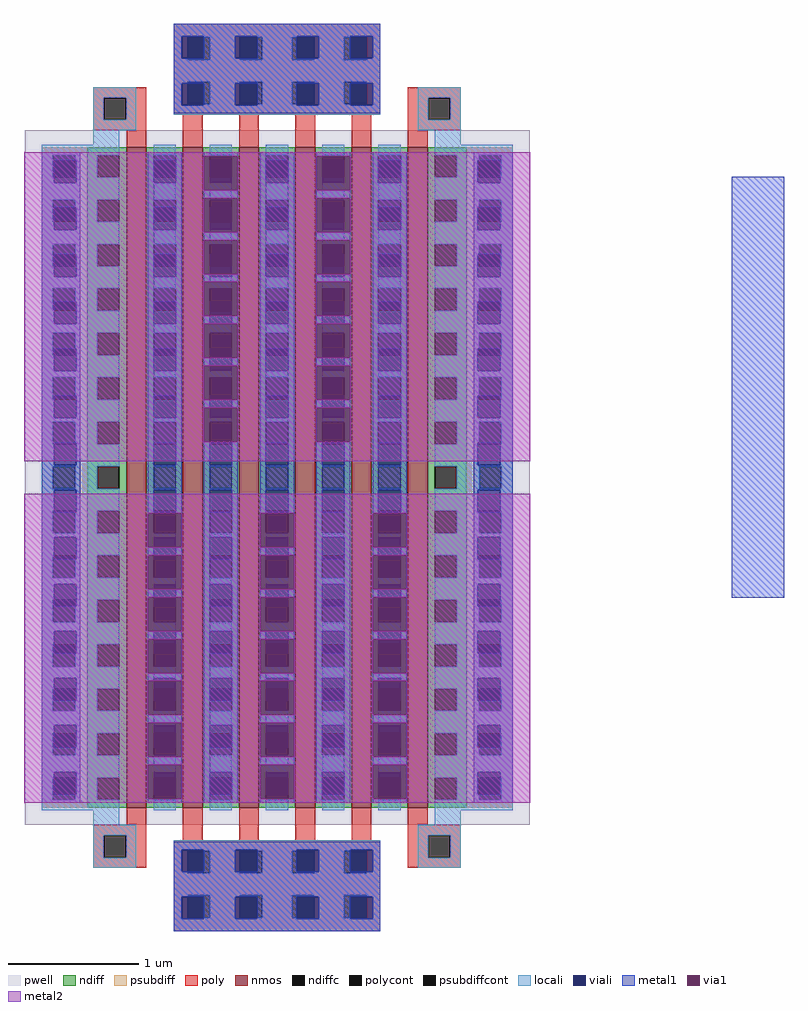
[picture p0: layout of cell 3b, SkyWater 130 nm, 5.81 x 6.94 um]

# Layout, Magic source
magic
tech sky130B
magscale 1 2
<< metal1 >>
rect 1096 510 1176 1154
use 2  2_0
transform 1 0 0 0 1 0
box 14 0 788 1388
<< end >>

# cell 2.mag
magic
tech sky130B
magscale 1 2
<< pwell >>
rect 15 163 787 1225
<< nmos >>
rect 171 189 201 1199
rect 257 189 287 1199
rect 343 189 373 1199
rect 429 189 459 1199
rect 515 189 545 1199
rect 601 189 631 1199
<< ndiff >>
rect 111 1187 171 1199
rect 111 1153 126 1187
rect 160 1153 171 1187
rect 111 1119 171 1153
rect 111 1085 126 1119
rect 160 1085 171 1119
rect 111 1051 171 1085
rect 111 1017 126 1051
rect 160 1017 171 1051
rect 111 983 171 1017
rect 111 949 126 983
rect 160 949 171 983
rect 111 915 171 949
rect 111 881 126 915
rect 160 881 171 915
rect 111 847 171 881
rect 111 813 126 847
rect 160 813 171 847
rect 111 779 171 813
rect 111 745 126 779
rect 160 745 171 779
rect 111 711 171 745
rect 111 677 126 711
rect 160 677 171 711
rect 111 643 171 677
rect 111 609 126 643
rect 160 609 171 643
rect 111 575 171 609
rect 111 541 126 575
rect 160 541 171 575
rect 111 507 171 541
rect 111 473 126 507
rect 160 473 171 507
rect 111 439 171 473
rect 111 405 126 439
rect 160 405 171 439
rect 111 371 171 405
rect 111 337 126 371
rect 160 337 171 371
rect 111 303 171 337
rect 111 269 126 303
rect 160 269 171 303
rect 111 235 171 269
rect 111 201 126 235
rect 160 201 171 235
rect 111 189 171 201
rect 201 1187 257 1199
rect 201 1153 212 1187
rect 246 1153 257 1187
rect 201 1119 257 1153
rect 201 1085 212 1119
rect 246 1085 257 1119
rect 201 1051 257 1085
rect 201 1017 212 1051
rect 246 1017 257 1051
rect 201 983 257 1017
rect 201 949 212 983
rect 246 949 257 983
rect 201 915 257 949
rect 201 881 212 915
rect 246 881 257 915
rect 201 847 257 881
rect 201 813 212 847
rect 246 813 257 847
rect 201 779 257 813
rect 201 745 212 779
rect 246 745 257 779
rect 201 711 257 745
rect 201 677 212 711
rect 246 677 257 711
rect 201 643 257 677
rect 201 609 212 643
rect 246 609 257 643
rect 201 575 257 609
rect 201 541 212 575
rect 246 541 257 575
rect 201 507 257 541
rect 201 473 212 507
rect 246 473 257 507
rect 201 439 257 473
rect 201 405 212 439
rect 246 405 257 439
rect 201 371 257 405
rect 201 337 212 371
rect 246 337 257 371
rect 201 303 257 337
rect 201 269 212 303
rect 246 269 257 303
rect 201 235 257 269
rect 201 201 212 235
rect 246 201 257 235
rect 201 189 257 201
rect 287 1187 343 1199
rect 287 1153 298 1187
rect 332 1153 343 1187
rect 287 1119 343 1153
rect 287 1085 298 1119
rect 332 1085 343 1119
rect 287 1051 343 1085
rect 287 1017 298 1051
rect 332 1017 343 1051
rect 287 983 343 1017
rect 287 949 298 983
rect 332 949 343 983
rect 287 915 343 949
rect 287 881 298 915
rect 332 881 343 915
rect 287 847 343 881
rect 287 813 298 847
rect 332 813 343 847
rect 287 779 343 813
rect 287 745 298 779
rect 332 745 343 779
rect 287 711 343 745
rect 287 677 298 711
rect 332 677 343 711
rect 287 643 343 677
rect 287 609 298 643
rect 332 609 343 643
rect 287 575 343 609
rect 287 541 298 575
rect 332 541 343 575
rect 287 507 343 541
rect 287 473 298 507
rect 332 473 343 507
rect 287 439 343 473
rect 287 405 298 439
rect 332 405 343 439
rect 287 371 343 405
rect 287 337 298 371
rect 332 337 343 371
rect 287 303 343 337
rect 287 269 298 303
rect 332 269 343 303
rect 287 235 343 269
rect 287 201 298 235
rect 332 201 343 235
rect 287 189 343 201
rect 373 1187 429 1199
rect 373 1153 384 1187
rect 418 1153 429 1187
rect 373 1119 429 1153
rect 373 1085 384 1119
rect 418 1085 429 1119
rect 373 1051 429 1085
rect 373 1017 384 1051
rect 418 1017 429 1051
rect 373 983 429 1017
rect 373 949 384 983
rect 418 949 429 983
rect 373 915 429 949
rect 373 881 384 915
rect 418 881 429 915
rect 373 847 429 881
rect 373 813 384 847
rect 418 813 429 847
rect 373 779 429 813
rect 373 745 384 779
rect 418 745 429 779
rect 373 711 429 745
rect 373 677 384 711
rect 418 677 429 711
rect 373 643 429 677
rect 373 609 384 643
rect 418 609 429 643
rect 373 575 429 609
rect 373 541 384 575
rect 418 541 429 575
rect 373 507 429 541
rect 373 473 384 507
rect 418 473 429 507
rect 373 439 429 473
rect 373 405 384 439
rect 418 405 429 439
rect 373 371 429 405
rect 373 337 384 371
rect 418 337 429 371
rect 373 303 429 337
rect 373 269 384 303
rect 418 269 429 303
rect 373 235 429 269
rect 373 201 384 235
rect 418 201 429 235
rect 373 189 429 201
rect 459 1187 515 1199
rect 459 1153 470 1187
rect 504 1153 515 1187
rect 459 1119 515 1153
rect 459 1085 470 1119
rect 504 1085 515 1119
rect 459 1051 515 1085
rect 459 1017 470 1051
rect 504 1017 515 1051
rect 459 983 515 1017
rect 459 949 470 983
rect 504 949 515 983
rect 459 915 515 949
rect 459 881 470 915
rect 504 881 515 915
rect 459 847 515 881
rect 459 813 470 847
rect 504 813 515 847
rect 459 779 515 813
rect 459 745 470 779
rect 504 745 515 779
rect 459 711 515 745
rect 459 677 470 711
rect 504 677 515 711
rect 459 643 515 677
rect 459 609 470 643
rect 504 609 515 643
rect 459 575 515 609
rect 459 541 470 575
rect 504 541 515 575
rect 459 507 515 541
rect 459 473 470 507
rect 504 473 515 507
rect 459 439 515 473
rect 459 405 470 439
rect 504 405 515 439
rect 459 371 515 405
rect 459 337 470 371
rect 504 337 515 371
rect 459 303 515 337
rect 459 269 470 303
rect 504 269 515 303
rect 459 235 515 269
rect 459 201 470 235
rect 504 201 515 235
rect 459 189 515 201
rect 545 1187 601 1199
rect 545 1153 556 1187
rect 590 1153 601 1187
rect 545 1119 601 1153
rect 545 1085 556 1119
rect 590 1085 601 1119
rect 545 1051 601 1085
rect 545 1017 556 1051
rect 590 1017 601 1051
rect 545 983 601 1017
rect 545 949 556 983
rect 590 949 601 983
rect 545 915 601 949
rect 545 881 556 915
rect 590 881 601 915
rect 545 847 601 881
rect 545 813 556 847
rect 590 813 601 847
rect 545 779 601 813
rect 545 745 556 779
rect 590 745 601 779
rect 545 711 601 745
rect 545 677 556 711
rect 590 677 601 711
rect 545 643 601 677
rect 545 609 556 643
rect 590 609 601 643
rect 545 575 601 609
rect 545 541 556 575
rect 590 541 601 575
rect 545 507 601 541
rect 545 473 556 507
rect 590 473 601 507
rect 545 439 601 473
rect 545 405 556 439
rect 590 405 601 439
rect 545 371 601 405
rect 545 337 556 371
rect 590 337 601 371
rect 545 303 601 337
rect 545 269 556 303
rect 590 269 601 303
rect 545 235 601 269
rect 545 201 556 235
rect 590 201 601 235
rect 545 189 601 201
rect 631 1187 691 1199
rect 631 1153 642 1187
rect 676 1153 691 1187
rect 631 1119 691 1153
rect 631 1085 642 1119
rect 676 1085 691 1119
rect 631 1051 691 1085
rect 631 1017 642 1051
rect 676 1017 691 1051
rect 631 983 691 1017
rect 631 949 642 983
rect 676 949 691 983
rect 631 915 691 949
rect 631 881 642 915
rect 676 881 691 915
rect 631 847 691 881
rect 631 813 642 847
rect 676 813 691 847
rect 631 779 691 813
rect 631 745 642 779
rect 676 745 691 779
rect 631 711 691 745
rect 631 677 642 711
rect 676 677 691 711
rect 631 643 691 677
rect 631 609 642 643
rect 676 609 691 643
rect 631 575 691 609
rect 631 541 642 575
rect 676 541 691 575
rect 631 507 691 541
rect 631 473 642 507
rect 676 473 691 507
rect 631 439 691 473
rect 631 405 642 439
rect 676 405 691 439
rect 631 371 691 405
rect 631 337 642 371
rect 676 337 691 371
rect 631 303 691 337
rect 631 269 642 303
rect 676 269 691 303
rect 631 235 691 269
rect 631 201 642 235
rect 676 201 691 235
rect 631 189 691 201
<< ndiffc >>
rect 126 1153 160 1187
rect 126 1085 160 1119
rect 126 1017 160 1051
rect 126 949 160 983
rect 126 881 160 915
rect 126 813 160 847
rect 126 745 160 779
rect 126 677 160 711
rect 126 609 160 643
rect 126 541 160 575
rect 126 473 160 507
rect 126 405 160 439
rect 126 337 160 371
rect 126 269 160 303
rect 126 201 160 235
rect 212 1153 246 1187
rect 212 1085 246 1119
rect 212 1017 246 1051
rect 212 949 246 983
rect 212 881 246 915
rect 212 813 246 847
rect 212 745 246 779
rect 212 677 246 711
rect 212 609 246 643
rect 212 541 246 575
rect 212 473 246 507
rect 212 405 246 439
rect 212 337 246 371
rect 212 269 246 303
rect 212 201 246 235
rect 298 1153 332 1187
rect 298 1085 332 1119
rect 298 1017 332 1051
rect 298 949 332 983
rect 298 881 332 915
rect 298 813 332 847
rect 298 745 332 779
rect 298 677 332 711
rect 298 609 332 643
rect 298 541 332 575
rect 298 473 332 507
rect 298 405 332 439
rect 298 337 332 371
rect 298 269 332 303
rect 298 201 332 235
rect 384 1153 418 1187
rect 384 1085 418 1119
rect 384 1017 418 1051
rect 384 949 418 983
rect 384 881 418 915
rect 384 813 418 847
rect 384 745 418 779
rect 384 677 418 711
rect 384 609 418 643
rect 384 541 418 575
rect 384 473 418 507
rect 384 405 418 439
rect 384 337 418 371
rect 384 269 418 303
rect 384 201 418 235
rect 470 1153 504 1187
rect 470 1085 504 1119
rect 470 1017 504 1051
rect 470 949 504 983
rect 470 881 504 915
rect 470 813 504 847
rect 470 745 504 779
rect 470 677 504 711
rect 470 609 504 643
rect 470 541 504 575
rect 470 473 504 507
rect 470 405 504 439
rect 470 337 504 371
rect 470 269 504 303
rect 470 201 504 235
rect 556 1153 590 1187
rect 556 1085 590 1119
rect 556 1017 590 1051
rect 556 949 590 983
rect 556 881 590 915
rect 556 813 590 847
rect 556 745 590 779
rect 556 677 590 711
rect 556 609 590 643
rect 556 541 590 575
rect 556 473 590 507
rect 556 405 590 439
rect 556 337 590 371
rect 556 269 590 303
rect 556 201 590 235
rect 642 1153 676 1187
rect 642 1085 676 1119
rect 642 1017 676 1051
rect 642 949 676 983
rect 642 881 676 915
rect 642 813 676 847
rect 642 745 676 779
rect 642 677 676 711
rect 642 609 676 643
rect 642 541 676 575
rect 642 473 676 507
rect 642 405 676 439
rect 642 337 676 371
rect 642 269 676 303
rect 642 201 676 235
<< psubdiff >>
rect 41 1187 111 1199
rect 41 1153 58 1187
rect 92 1153 111 1187
rect 41 1119 111 1153
rect 41 1085 58 1119
rect 92 1085 111 1119
rect 41 1051 111 1085
rect 41 1017 58 1051
rect 92 1017 111 1051
rect 41 983 111 1017
rect 41 949 58 983
rect 92 949 111 983
rect 41 915 111 949
rect 41 881 58 915
rect 92 881 111 915
rect 41 847 111 881
rect 41 813 58 847
rect 92 813 111 847
rect 41 779 111 813
rect 41 745 58 779
rect 92 745 111 779
rect 41 711 111 745
rect 41 677 58 711
rect 92 677 111 711
rect 41 643 111 677
rect 41 609 58 643
rect 92 609 111 643
rect 41 575 111 609
rect 41 541 58 575
rect 92 541 111 575
rect 41 507 111 541
rect 41 473 58 507
rect 92 473 111 507
rect 41 439 111 473
rect 41 405 58 439
rect 92 405 111 439
rect 41 371 111 405
rect 41 337 58 371
rect 92 337 111 371
rect 41 303 111 337
rect 41 269 58 303
rect 92 269 111 303
rect 41 235 111 269
rect 41 201 58 235
rect 92 201 111 235
rect 41 189 111 201
rect 691 1187 761 1199
rect 691 1153 710 1187
rect 744 1153 761 1187
rect 691 1119 761 1153
rect 691 1085 710 1119
rect 744 1085 761 1119
rect 691 1051 761 1085
rect 691 1017 710 1051
rect 744 1017 761 1051
rect 691 983 761 1017
rect 691 949 710 983
rect 744 949 761 983
rect 691 915 761 949
rect 691 881 710 915
rect 744 881 761 915
rect 691 847 761 881
rect 691 813 710 847
rect 744 813 761 847
rect 691 779 761 813
rect 691 745 710 779
rect 744 745 761 779
rect 691 711 761 745
rect 691 677 710 711
rect 744 677 761 711
rect 691 643 761 677
rect 691 609 710 643
rect 744 609 761 643
rect 691 575 761 609
rect 691 541 710 575
rect 744 541 761 575
rect 691 507 761 541
rect 691 473 710 507
rect 744 473 761 507
rect 691 439 761 473
rect 691 405 710 439
rect 744 405 761 439
rect 691 371 761 405
rect 691 337 710 371
rect 744 337 761 371
rect 691 303 761 337
rect 691 269 710 303
rect 744 269 761 303
rect 691 235 761 269
rect 691 201 710 235
rect 744 201 761 235
rect 691 189 761 201
<< psubdiffcont >>
rect 58 1153 92 1187
rect 58 1085 92 1119
rect 58 1017 92 1051
rect 58 949 92 983
rect 58 881 92 915
rect 58 813 92 847
rect 58 745 92 779
rect 58 677 92 711
rect 58 609 92 643
rect 58 541 92 575
rect 58 473 92 507
rect 58 405 92 439
rect 58 337 92 371
rect 58 269 92 303
rect 58 201 92 235
rect 710 1153 744 1187
rect 710 1085 744 1119
rect 710 1017 744 1051
rect 710 949 744 983
rect 710 881 744 915
rect 710 813 744 847
rect 710 745 744 779
rect 710 677 744 711
rect 710 609 744 643
rect 710 541 744 575
rect 710 473 744 507
rect 710 405 744 439
rect 710 337 744 371
rect 710 269 744 303
rect 710 201 744 235
<< poly >>
rect 243 1367 559 1388
rect 243 1333 264 1367
rect 298 1333 344 1367
rect 378 1333 424 1367
rect 458 1333 504 1367
rect 538 1333 559 1367
rect 243 1299 559 1333
rect 120 1275 201 1291
rect 120 1241 136 1275
rect 170 1241 201 1275
rect 243 1265 264 1299
rect 298 1265 344 1299
rect 378 1265 424 1299
rect 458 1265 504 1299
rect 538 1265 559 1299
rect 243 1249 559 1265
rect 601 1275 682 1291
rect 120 1225 201 1241
rect 171 1199 201 1225
rect 257 1199 287 1249
rect 343 1199 373 1249
rect 429 1199 459 1249
rect 515 1199 545 1249
rect 601 1241 632 1275
rect 666 1241 682 1275
rect 601 1225 682 1241
rect 601 1199 631 1225
rect 171 163 201 189
rect 120 147 201 163
rect 120 113 136 147
rect 170 113 201 147
rect 257 139 287 189
rect 343 139 373 189
rect 429 139 459 189
rect 515 139 545 189
rect 601 163 631 189
rect 601 147 682 163
rect 120 97 201 113
rect 243 123 559 139
rect 243 89 264 123
rect 298 89 344 123
rect 378 89 424 123
rect 458 89 504 123
rect 538 89 559 123
rect 601 113 632 147
rect 666 113 682 147
rect 601 97 682 113
rect 243 55 559 89
rect 243 21 264 55
rect 298 21 344 55
rect 378 21 424 55
rect 458 21 504 55
rect 538 21 559 55
rect 243 0 559 21
<< polycont >>
rect 264 1333 298 1367
rect 344 1333 378 1367
rect 424 1333 458 1367
rect 504 1333 538 1367
rect 136 1241 170 1275
rect 264 1265 298 1299
rect 344 1265 378 1299
rect 424 1265 458 1299
rect 504 1265 538 1299
rect 632 1241 666 1275
rect 136 113 170 147
rect 264 89 298 123
rect 344 89 378 123
rect 424 89 458 123
rect 504 89 538 123
rect 632 113 666 147
rect 264 21 298 55
rect 344 21 378 55
rect 424 21 458 55
rect 504 21 538 55
<< locali >>
rect 243 1369 559 1388
rect 243 1335 255 1369
rect 289 1367 337 1369
rect 371 1367 431 1369
rect 465 1367 513 1369
rect 298 1335 337 1367
rect 243 1333 264 1335
rect 298 1333 344 1335
rect 378 1333 424 1367
rect 465 1335 504 1367
rect 547 1335 559 1369
rect 458 1333 504 1335
rect 538 1333 559 1335
rect 243 1299 559 1333
rect 243 1297 264 1299
rect 298 1297 344 1299
rect 120 1275 186 1291
rect 120 1241 136 1275
rect 170 1241 186 1275
rect 243 1263 255 1297
rect 298 1265 337 1297
rect 378 1265 424 1299
rect 458 1297 504 1299
rect 538 1297 559 1299
rect 465 1265 504 1297
rect 289 1263 337 1265
rect 371 1263 431 1265
rect 465 1263 513 1265
rect 547 1263 559 1297
rect 243 1249 559 1263
rect 616 1275 682 1291
rect 120 1225 186 1241
rect 616 1241 632 1275
rect 666 1241 682 1275
rect 616 1225 682 1241
rect 120 1203 160 1225
rect 642 1203 682 1225
rect 41 1187 160 1203
rect 41 1153 58 1187
rect 92 1179 126 1187
rect 94 1153 126 1179
rect 41 1145 60 1153
rect 94 1145 160 1153
rect 41 1119 160 1145
rect 41 1085 58 1119
rect 92 1107 126 1119
rect 94 1085 126 1107
rect 41 1073 60 1085
rect 94 1073 160 1085
rect 41 1051 160 1073
rect 41 1017 58 1051
rect 92 1035 126 1051
rect 94 1017 126 1035
rect 41 1001 60 1017
rect 94 1001 160 1017
rect 41 983 160 1001
rect 41 949 58 983
rect 92 963 126 983
rect 94 949 126 963
rect 41 929 60 949
rect 94 929 160 949
rect 41 915 160 929
rect 41 881 58 915
rect 92 891 126 915
rect 94 881 126 891
rect 41 857 60 881
rect 94 857 160 881
rect 41 847 160 857
rect 41 813 58 847
rect 92 819 126 847
rect 94 813 126 819
rect 41 785 60 813
rect 94 785 160 813
rect 41 779 160 785
rect 41 745 58 779
rect 92 747 126 779
rect 94 745 126 747
rect 41 713 60 745
rect 94 713 160 745
rect 41 711 160 713
rect 41 677 58 711
rect 92 677 126 711
rect 41 675 160 677
rect 41 643 60 675
rect 94 643 160 675
rect 41 609 58 643
rect 94 641 126 643
rect 92 609 126 641
rect 41 603 160 609
rect 41 575 60 603
rect 94 575 160 603
rect 41 541 58 575
rect 94 569 126 575
rect 92 541 126 569
rect 41 531 160 541
rect 41 507 60 531
rect 94 507 160 531
rect 41 473 58 507
rect 94 497 126 507
rect 92 473 126 497
rect 41 459 160 473
rect 41 439 60 459
rect 94 439 160 459
rect 41 405 58 439
rect 94 425 126 439
rect 92 405 126 425
rect 41 387 160 405
rect 41 371 60 387
rect 94 371 160 387
rect 41 337 58 371
rect 94 353 126 371
rect 92 337 126 353
rect 41 315 160 337
rect 41 303 60 315
rect 94 303 160 315
rect 41 269 58 303
rect 94 281 126 303
rect 92 269 126 281
rect 41 243 160 269
rect 41 235 60 243
rect 94 235 160 243
rect 41 201 58 235
rect 94 209 126 235
rect 92 201 126 209
rect 41 185 160 201
rect 212 1187 246 1203
rect 212 1119 246 1145
rect 212 1051 246 1073
rect 212 983 246 1001
rect 212 915 246 929
rect 212 847 246 857
rect 212 779 246 785
rect 212 711 246 713
rect 212 675 246 677
rect 212 603 246 609
rect 212 531 246 541
rect 212 459 246 473
rect 212 387 246 405
rect 212 315 246 337
rect 212 243 246 269
rect 212 185 246 201
rect 298 1187 332 1203
rect 298 1119 332 1145
rect 298 1051 332 1073
rect 298 983 332 1001
rect 298 915 332 929
rect 298 847 332 857
rect 298 779 332 785
rect 298 711 332 713
rect 298 675 332 677
rect 298 603 332 609
rect 298 531 332 541
rect 298 459 332 473
rect 298 387 332 405
rect 298 315 332 337
rect 298 243 332 269
rect 298 185 332 201
rect 384 1187 418 1203
rect 384 1119 418 1145
rect 384 1051 418 1073
rect 384 983 418 1001
rect 384 915 418 929
rect 384 847 418 857
rect 384 779 418 785
rect 384 711 418 713
rect 384 675 418 677
rect 384 603 418 609
rect 384 531 418 541
rect 384 459 418 473
rect 384 387 418 405
rect 384 315 418 337
rect 384 243 418 269
rect 384 185 418 201
rect 470 1187 504 1203
rect 470 1119 504 1145
rect 470 1051 504 1073
rect 470 983 504 1001
rect 470 915 504 929
rect 470 847 504 857
rect 470 779 504 785
rect 470 711 504 713
rect 470 675 504 677
rect 470 603 504 609
rect 470 531 504 541
rect 470 459 504 473
rect 470 387 504 405
rect 470 315 504 337
rect 470 243 504 269
rect 470 185 504 201
rect 556 1187 590 1203
rect 556 1119 590 1145
rect 556 1051 590 1073
rect 556 983 590 1001
rect 556 915 590 929
rect 556 847 590 857
rect 556 779 590 785
rect 556 711 590 713
rect 556 675 590 677
rect 556 603 590 609
rect 556 531 590 541
rect 556 459 590 473
rect 556 387 590 405
rect 556 315 590 337
rect 556 243 590 269
rect 556 185 590 201
rect 642 1187 761 1203
rect 676 1179 710 1187
rect 676 1153 708 1179
rect 744 1153 761 1187
rect 642 1145 708 1153
rect 742 1145 761 1153
rect 642 1119 761 1145
rect 676 1107 710 1119
rect 676 1085 708 1107
rect 744 1085 761 1119
rect 642 1073 708 1085
rect 742 1073 761 1085
rect 642 1051 761 1073
rect 676 1035 710 1051
rect 676 1017 708 1035
rect 744 1017 761 1051
rect 642 1001 708 1017
rect 742 1001 761 1017
rect 642 983 761 1001
rect 676 963 710 983
rect 676 949 708 963
rect 744 949 761 983
rect 642 929 708 949
rect 742 929 761 949
rect 642 915 761 929
rect 676 891 710 915
rect 676 881 708 891
rect 744 881 761 915
rect 642 857 708 881
rect 742 857 761 881
rect 642 847 761 857
rect 676 819 710 847
rect 676 813 708 819
rect 744 813 761 847
rect 642 785 708 813
rect 742 785 761 813
rect 642 779 761 785
rect 676 747 710 779
rect 676 745 708 747
rect 744 745 761 779
rect 642 713 708 745
rect 742 713 761 745
rect 642 711 761 713
rect 676 677 710 711
rect 744 677 761 711
rect 642 675 761 677
rect 642 643 708 675
rect 742 643 761 675
rect 676 641 708 643
rect 676 609 710 641
rect 744 609 761 643
rect 642 603 761 609
rect 642 575 708 603
rect 742 575 761 603
rect 676 569 708 575
rect 676 541 710 569
rect 744 541 761 575
rect 642 531 761 541
rect 642 507 708 531
rect 742 507 761 531
rect 676 497 708 507
rect 676 473 710 497
rect 744 473 761 507
rect 642 459 761 473
rect 642 439 708 459
rect 742 439 761 459
rect 676 425 708 439
rect 676 405 710 425
rect 744 405 761 439
rect 642 387 761 405
rect 642 371 708 387
rect 742 371 761 387
rect 676 353 708 371
rect 676 337 710 353
rect 744 337 761 371
rect 642 315 761 337
rect 642 303 708 315
rect 742 303 761 315
rect 676 281 708 303
rect 676 269 710 281
rect 744 269 761 303
rect 642 243 761 269
rect 642 235 708 243
rect 742 235 761 243
rect 676 209 708 235
rect 676 201 710 209
rect 744 201 761 235
rect 642 185 761 201
rect 120 163 160 185
rect 642 163 682 185
rect 120 147 186 163
rect 120 113 136 147
rect 170 113 186 147
rect 616 147 682 163
rect 120 97 186 113
rect 243 125 559 139
rect 243 91 255 125
rect 289 123 337 125
rect 371 123 431 125
rect 465 123 513 125
rect 298 91 337 123
rect 243 89 264 91
rect 298 89 344 91
rect 378 89 424 123
rect 465 91 504 123
rect 547 91 559 125
rect 616 113 632 147
rect 666 113 682 147
rect 616 97 682 113
rect 458 89 504 91
rect 538 89 559 91
rect 243 55 559 89
rect 243 53 264 55
rect 298 53 344 55
rect 243 19 255 53
rect 298 21 337 53
rect 378 21 424 55
rect 458 53 504 55
rect 538 53 559 55
rect 465 21 504 53
rect 289 19 337 21
rect 371 19 431 21
rect 465 19 513 21
rect 547 19 559 53
rect 243 0 559 19
<< viali >>
rect 255 1367 289 1369
rect 337 1367 371 1369
rect 431 1367 465 1369
rect 513 1367 547 1369
rect 255 1335 264 1367
rect 264 1335 289 1367
rect 337 1335 344 1367
rect 344 1335 371 1367
rect 431 1335 458 1367
rect 458 1335 465 1367
rect 513 1335 538 1367
rect 538 1335 547 1367
rect 255 1265 264 1297
rect 264 1265 289 1297
rect 337 1265 344 1297
rect 344 1265 371 1297
rect 431 1265 458 1297
rect 458 1265 465 1297
rect 513 1265 538 1297
rect 538 1265 547 1297
rect 255 1263 289 1265
rect 337 1263 371 1265
rect 431 1263 465 1265
rect 513 1263 547 1265
rect 60 1153 92 1179
rect 92 1153 94 1179
rect 60 1145 94 1153
rect 60 1085 92 1107
rect 92 1085 94 1107
rect 60 1073 94 1085
rect 60 1017 92 1035
rect 92 1017 94 1035
rect 60 1001 94 1017
rect 60 949 92 963
rect 92 949 94 963
rect 60 929 94 949
rect 60 881 92 891
rect 92 881 94 891
rect 60 857 94 881
rect 60 813 92 819
rect 92 813 94 819
rect 60 785 94 813
rect 60 745 92 747
rect 92 745 94 747
rect 60 713 94 745
rect 60 643 94 675
rect 60 641 92 643
rect 92 641 94 643
rect 60 575 94 603
rect 60 569 92 575
rect 92 569 94 575
rect 60 507 94 531
rect 60 497 92 507
rect 92 497 94 507
rect 60 439 94 459
rect 60 425 92 439
rect 92 425 94 439
rect 60 371 94 387
rect 60 353 92 371
rect 92 353 94 371
rect 60 303 94 315
rect 60 281 92 303
rect 92 281 94 303
rect 60 235 94 243
rect 60 209 92 235
rect 92 209 94 235
rect 212 1153 246 1179
rect 212 1145 246 1153
rect 212 1085 246 1107
rect 212 1073 246 1085
rect 212 1017 246 1035
rect 212 1001 246 1017
rect 212 949 246 963
rect 212 929 246 949
rect 212 881 246 891
rect 212 857 246 881
rect 212 813 246 819
rect 212 785 246 813
rect 212 745 246 747
rect 212 713 246 745
rect 212 643 246 675
rect 212 641 246 643
rect 212 575 246 603
rect 212 569 246 575
rect 212 507 246 531
rect 212 497 246 507
rect 212 439 246 459
rect 212 425 246 439
rect 212 371 246 387
rect 212 353 246 371
rect 212 303 246 315
rect 212 281 246 303
rect 212 235 246 243
rect 212 209 246 235
rect 298 1153 332 1179
rect 298 1145 332 1153
rect 298 1085 332 1107
rect 298 1073 332 1085
rect 298 1017 332 1035
rect 298 1001 332 1017
rect 298 949 332 963
rect 298 929 332 949
rect 298 881 332 891
rect 298 857 332 881
rect 298 813 332 819
rect 298 785 332 813
rect 298 745 332 747
rect 298 713 332 745
rect 298 643 332 675
rect 298 641 332 643
rect 298 575 332 603
rect 298 569 332 575
rect 298 507 332 531
rect 298 497 332 507
rect 298 439 332 459
rect 298 425 332 439
rect 298 371 332 387
rect 298 353 332 371
rect 298 303 332 315
rect 298 281 332 303
rect 298 235 332 243
rect 298 209 332 235
rect 384 1153 418 1179
rect 384 1145 418 1153
rect 384 1085 418 1107
rect 384 1073 418 1085
rect 384 1017 418 1035
rect 384 1001 418 1017
rect 384 949 418 963
rect 384 929 418 949
rect 384 881 418 891
rect 384 857 418 881
rect 384 813 418 819
rect 384 785 418 813
rect 384 745 418 747
rect 384 713 418 745
rect 384 643 418 675
rect 384 641 418 643
rect 384 575 418 603
rect 384 569 418 575
rect 384 507 418 531
rect 384 497 418 507
rect 384 439 418 459
rect 384 425 418 439
rect 384 371 418 387
rect 384 353 418 371
rect 384 303 418 315
rect 384 281 418 303
rect 384 235 418 243
rect 384 209 418 235
rect 470 1153 504 1179
rect 470 1145 504 1153
rect 470 1085 504 1107
rect 470 1073 504 1085
rect 470 1017 504 1035
rect 470 1001 504 1017
rect 470 949 504 963
rect 470 929 504 949
rect 470 881 504 891
rect 470 857 504 881
rect 470 813 504 819
rect 470 785 504 813
rect 470 745 504 747
rect 470 713 504 745
rect 470 643 504 675
rect 470 641 504 643
rect 470 575 504 603
rect 470 569 504 575
rect 470 507 504 531
rect 470 497 504 507
rect 470 439 504 459
rect 470 425 504 439
rect 470 371 504 387
rect 470 353 504 371
rect 470 303 504 315
rect 470 281 504 303
rect 470 235 504 243
rect 470 209 504 235
rect 556 1153 590 1179
rect 556 1145 590 1153
rect 556 1085 590 1107
rect 556 1073 590 1085
rect 556 1017 590 1035
rect 556 1001 590 1017
rect 556 949 590 963
rect 556 929 590 949
rect 556 881 590 891
rect 556 857 590 881
rect 556 813 590 819
rect 556 785 590 813
rect 556 745 590 747
rect 556 713 590 745
rect 556 643 590 675
rect 556 641 590 643
rect 556 575 590 603
rect 556 569 590 575
rect 556 507 590 531
rect 556 497 590 507
rect 556 439 590 459
rect 556 425 590 439
rect 556 371 590 387
rect 556 353 590 371
rect 556 303 590 315
rect 556 281 590 303
rect 556 235 590 243
rect 556 209 590 235
rect 708 1153 710 1179
rect 710 1153 742 1179
rect 708 1145 742 1153
rect 708 1085 710 1107
rect 710 1085 742 1107
rect 708 1073 742 1085
rect 708 1017 710 1035
rect 710 1017 742 1035
rect 708 1001 742 1017
rect 708 949 710 963
rect 710 949 742 963
rect 708 929 742 949
rect 708 881 710 891
rect 710 881 742 891
rect 708 857 742 881
rect 708 813 710 819
rect 710 813 742 819
rect 708 785 742 813
rect 708 745 710 747
rect 710 745 742 747
rect 708 713 742 745
rect 708 643 742 675
rect 708 641 710 643
rect 710 641 742 643
rect 708 575 742 603
rect 708 569 710 575
rect 710 569 742 575
rect 708 507 742 531
rect 708 497 710 507
rect 710 497 742 507
rect 708 439 742 459
rect 708 425 710 439
rect 710 425 742 439
rect 708 371 742 387
rect 708 353 710 371
rect 710 353 742 371
rect 708 303 742 315
rect 708 281 710 303
rect 710 281 742 303
rect 708 235 742 243
rect 708 209 710 235
rect 710 209 742 235
rect 255 123 289 125
rect 337 123 371 125
rect 431 123 465 125
rect 513 123 547 125
rect 255 91 264 123
rect 264 91 289 123
rect 337 91 344 123
rect 344 91 371 123
rect 431 91 458 123
rect 458 91 465 123
rect 513 91 538 123
rect 538 91 547 123
rect 255 21 264 53
rect 264 21 289 53
rect 337 21 344 53
rect 344 21 371 53
rect 431 21 458 53
rect 458 21 465 53
rect 513 21 538 53
rect 538 21 547 53
rect 255 19 289 21
rect 337 19 371 21
rect 431 19 465 21
rect 513 19 547 21
<< metal1 >>
rect 243 1369 559 1388
rect 243 1335 255 1369
rect 289 1335 337 1369
rect 371 1335 431 1369
rect 465 1335 513 1369
rect 547 1335 559 1369
rect 243 1297 559 1335
rect 243 1263 255 1297
rect 289 1263 337 1297
rect 371 1263 431 1297
rect 465 1263 513 1297
rect 547 1263 559 1297
rect 243 1251 559 1263
rect 41 1179 100 1191
rect 41 1145 60 1179
rect 94 1145 100 1179
rect 41 1107 100 1145
rect 41 1073 60 1107
rect 94 1073 100 1107
rect 41 1035 100 1073
rect 41 1001 60 1035
rect 94 1001 100 1035
rect 41 963 100 1001
rect 41 929 60 963
rect 94 929 100 963
rect 41 891 100 929
rect 41 857 60 891
rect 94 857 100 891
rect 41 819 100 857
rect 41 785 60 819
rect 94 785 100 819
rect 41 747 100 785
rect 41 713 60 747
rect 94 713 100 747
rect 41 675 100 713
rect 41 641 60 675
rect 94 641 100 675
rect 41 603 100 641
rect 41 569 60 603
rect 94 569 100 603
rect 41 531 100 569
rect 41 497 60 531
rect 94 497 100 531
rect 41 459 100 497
rect 41 425 60 459
rect 94 425 100 459
rect 41 387 100 425
rect 41 353 60 387
rect 94 353 100 387
rect 41 315 100 353
rect 41 281 60 315
rect 94 281 100 315
rect 41 243 100 281
rect 41 209 60 243
rect 94 209 100 243
rect 41 197 100 209
rect 203 1179 255 1191
rect 203 1145 212 1179
rect 246 1145 255 1179
rect 203 1107 255 1145
rect 203 1073 212 1107
rect 246 1073 255 1107
rect 203 1035 255 1073
rect 203 1001 212 1035
rect 246 1001 255 1035
rect 203 963 255 1001
rect 203 929 212 963
rect 246 929 255 963
rect 203 891 255 929
rect 203 857 212 891
rect 246 857 255 891
rect 203 819 255 857
rect 203 785 212 819
rect 246 785 255 819
rect 203 747 255 785
rect 203 713 212 747
rect 246 713 255 747
rect 203 675 255 713
rect 203 641 212 675
rect 246 641 255 675
rect 203 639 255 641
rect 203 575 212 587
rect 246 575 255 587
rect 203 511 212 523
rect 246 511 255 523
rect 203 447 212 459
rect 246 447 255 459
rect 203 387 255 395
rect 203 383 212 387
rect 246 383 255 387
rect 203 319 255 331
rect 203 255 255 267
rect 203 197 255 203
rect 289 1185 341 1191
rect 289 1121 341 1133
rect 289 1057 341 1069
rect 289 1001 298 1005
rect 332 1001 341 1005
rect 289 993 341 1001
rect 289 929 298 941
rect 332 929 341 941
rect 289 865 298 877
rect 332 865 341 877
rect 289 801 298 813
rect 332 801 341 813
rect 289 747 341 749
rect 289 713 298 747
rect 332 713 341 747
rect 289 675 341 713
rect 289 641 298 675
rect 332 641 341 675
rect 289 603 341 641
rect 289 569 298 603
rect 332 569 341 603
rect 289 531 341 569
rect 289 497 298 531
rect 332 497 341 531
rect 289 459 341 497
rect 289 425 298 459
rect 332 425 341 459
rect 289 387 341 425
rect 289 353 298 387
rect 332 353 341 387
rect 289 315 341 353
rect 289 281 298 315
rect 332 281 341 315
rect 289 243 341 281
rect 289 209 298 243
rect 332 209 341 243
rect 289 197 341 209
rect 375 1179 427 1191
rect 375 1145 384 1179
rect 418 1145 427 1179
rect 375 1107 427 1145
rect 375 1073 384 1107
rect 418 1073 427 1107
rect 375 1035 427 1073
rect 375 1001 384 1035
rect 418 1001 427 1035
rect 375 963 427 1001
rect 375 929 384 963
rect 418 929 427 963
rect 375 891 427 929
rect 375 857 384 891
rect 418 857 427 891
rect 375 819 427 857
rect 375 785 384 819
rect 418 785 427 819
rect 375 747 427 785
rect 375 713 384 747
rect 418 713 427 747
rect 375 675 427 713
rect 375 641 384 675
rect 418 641 427 675
rect 375 639 427 641
rect 375 575 384 587
rect 418 575 427 587
rect 375 511 384 523
rect 418 511 427 523
rect 375 447 384 459
rect 418 447 427 459
rect 375 387 427 395
rect 375 383 384 387
rect 418 383 427 387
rect 375 319 427 331
rect 375 255 427 267
rect 375 197 427 203
rect 461 1185 513 1191
rect 461 1121 513 1133
rect 461 1057 513 1069
rect 461 1001 470 1005
rect 504 1001 513 1005
rect 461 993 513 1001
rect 461 929 470 941
rect 504 929 513 941
rect 461 865 470 877
rect 504 865 513 877
rect 461 801 470 813
rect 504 801 513 813
rect 461 747 513 749
rect 461 713 470 747
rect 504 713 513 747
rect 461 675 513 713
rect 461 641 470 675
rect 504 641 513 675
rect 461 603 513 641
rect 461 569 470 603
rect 504 569 513 603
rect 461 531 513 569
rect 461 497 470 531
rect 504 497 513 531
rect 461 459 513 497
rect 461 425 470 459
rect 504 425 513 459
rect 461 387 513 425
rect 461 353 470 387
rect 504 353 513 387
rect 461 315 513 353
rect 461 281 470 315
rect 504 281 513 315
rect 461 243 513 281
rect 461 209 470 243
rect 504 209 513 243
rect 461 197 513 209
rect 547 1179 599 1191
rect 547 1145 556 1179
rect 590 1145 599 1179
rect 547 1107 599 1145
rect 547 1073 556 1107
rect 590 1073 599 1107
rect 547 1035 599 1073
rect 547 1001 556 1035
rect 590 1001 599 1035
rect 547 963 599 1001
rect 547 929 556 963
rect 590 929 599 963
rect 547 891 599 929
rect 547 857 556 891
rect 590 857 599 891
rect 547 819 599 857
rect 547 785 556 819
rect 590 785 599 819
rect 547 747 599 785
rect 547 713 556 747
rect 590 713 599 747
rect 547 675 599 713
rect 547 641 556 675
rect 590 641 599 675
rect 547 639 599 641
rect 547 575 556 587
rect 590 575 599 587
rect 547 511 556 523
rect 590 511 599 523
rect 547 447 556 459
rect 590 447 599 459
rect 547 387 599 395
rect 547 383 556 387
rect 590 383 599 387
rect 547 319 599 331
rect 547 255 599 267
rect 547 197 599 203
rect 702 1179 761 1191
rect 702 1145 708 1179
rect 742 1145 761 1179
rect 702 1107 761 1145
rect 702 1073 708 1107
rect 742 1073 761 1107
rect 702 1035 761 1073
rect 702 1001 708 1035
rect 742 1001 761 1035
rect 702 963 761 1001
rect 702 929 708 963
rect 742 929 761 963
rect 702 891 761 929
rect 702 857 708 891
rect 742 857 761 891
rect 702 819 761 857
rect 702 785 708 819
rect 742 785 761 819
rect 702 747 761 785
rect 702 713 708 747
rect 742 713 761 747
rect 702 675 761 713
rect 702 641 708 675
rect 742 641 761 675
rect 702 603 761 641
rect 702 569 708 603
rect 742 569 761 603
rect 702 531 761 569
rect 702 497 708 531
rect 742 497 761 531
rect 702 459 761 497
rect 702 425 708 459
rect 742 425 761 459
rect 702 387 761 425
rect 702 353 708 387
rect 742 353 761 387
rect 702 315 761 353
rect 702 281 708 315
rect 742 281 761 315
rect 702 243 761 281
rect 702 209 708 243
rect 742 209 761 243
rect 702 197 761 209
rect 243 125 559 137
rect 243 91 255 125
rect 289 91 337 125
rect 371 91 431 125
rect 465 91 513 125
rect 547 91 559 125
rect 243 53 559 91
rect 243 19 255 53
rect 289 19 337 53
rect 371 19 431 53
rect 465 19 513 53
rect 547 19 559 53
rect 243 0 559 19
<< via1 >>
rect 203 603 255 639
rect 203 587 212 603
rect 212 587 246 603
rect 246 587 255 603
rect 203 569 212 575
rect 212 569 246 575
rect 246 569 255 575
rect 203 531 255 569
rect 203 523 212 531
rect 212 523 246 531
rect 246 523 255 531
rect 203 497 212 511
rect 212 497 246 511
rect 246 497 255 511
rect 203 459 255 497
rect 203 425 212 447
rect 212 425 246 447
rect 246 425 255 447
rect 203 395 255 425
rect 203 353 212 383
rect 212 353 246 383
rect 246 353 255 383
rect 203 331 255 353
rect 203 315 255 319
rect 203 281 212 315
rect 212 281 246 315
rect 246 281 255 315
rect 203 267 255 281
rect 203 243 255 255
rect 203 209 212 243
rect 212 209 246 243
rect 246 209 255 243
rect 203 203 255 209
rect 289 1179 341 1185
rect 289 1145 298 1179
rect 298 1145 332 1179
rect 332 1145 341 1179
rect 289 1133 341 1145
rect 289 1107 341 1121
rect 289 1073 298 1107
rect 298 1073 332 1107
rect 332 1073 341 1107
rect 289 1069 341 1073
rect 289 1035 341 1057
rect 289 1005 298 1035
rect 298 1005 332 1035
rect 332 1005 341 1035
rect 289 963 341 993
rect 289 941 298 963
rect 298 941 332 963
rect 332 941 341 963
rect 289 891 341 929
rect 289 877 298 891
rect 298 877 332 891
rect 332 877 341 891
rect 289 857 298 865
rect 298 857 332 865
rect 332 857 341 865
rect 289 819 341 857
rect 289 813 298 819
rect 298 813 332 819
rect 332 813 341 819
rect 289 785 298 801
rect 298 785 332 801
rect 332 785 341 801
rect 289 749 341 785
rect 375 603 427 639
rect 375 587 384 603
rect 384 587 418 603
rect 418 587 427 603
rect 375 569 384 575
rect 384 569 418 575
rect 418 569 427 575
rect 375 531 427 569
rect 375 523 384 531
rect 384 523 418 531
rect 418 523 427 531
rect 375 497 384 511
rect 384 497 418 511
rect 418 497 427 511
rect 375 459 427 497
rect 375 425 384 447
rect 384 425 418 447
rect 418 425 427 447
rect 375 395 427 425
rect 375 353 384 383
rect 384 353 418 383
rect 418 353 427 383
rect 375 331 427 353
rect 375 315 427 319
rect 375 281 384 315
rect 384 281 418 315
rect 418 281 427 315
rect 375 267 427 281
rect 375 243 427 255
rect 375 209 384 243
rect 384 209 418 243
rect 418 209 427 243
rect 375 203 427 209
rect 461 1179 513 1185
rect 461 1145 470 1179
rect 470 1145 504 1179
rect 504 1145 513 1179
rect 461 1133 513 1145
rect 461 1107 513 1121
rect 461 1073 470 1107
rect 470 1073 504 1107
rect 504 1073 513 1107
rect 461 1069 513 1073
rect 461 1035 513 1057
rect 461 1005 470 1035
rect 470 1005 504 1035
rect 504 1005 513 1035
rect 461 963 513 993
rect 461 941 470 963
rect 470 941 504 963
rect 504 941 513 963
rect 461 891 513 929
rect 461 877 470 891
rect 470 877 504 891
rect 504 877 513 891
rect 461 857 470 865
rect 470 857 504 865
rect 504 857 513 865
rect 461 819 513 857
rect 461 813 470 819
rect 470 813 504 819
rect 504 813 513 819
rect 461 785 470 801
rect 470 785 504 801
rect 504 785 513 801
rect 461 749 513 785
rect 547 603 599 639
rect 547 587 556 603
rect 556 587 590 603
rect 590 587 599 603
rect 547 569 556 575
rect 556 569 590 575
rect 590 569 599 575
rect 547 531 599 569
rect 547 523 556 531
rect 556 523 590 531
rect 590 523 599 531
rect 547 497 556 511
rect 556 497 590 511
rect 590 497 599 511
rect 547 459 599 497
rect 547 425 556 447
rect 556 425 590 447
rect 590 425 599 447
rect 547 395 599 425
rect 547 353 556 383
rect 556 353 590 383
rect 590 353 599 383
rect 547 331 599 353
rect 547 315 599 319
rect 547 281 556 315
rect 556 281 590 315
rect 590 281 599 315
rect 547 267 599 281
rect 547 243 599 255
rect 547 209 556 243
rect 556 209 590 243
rect 590 209 599 243
rect 547 203 599 209
<< metal2 >>
rect 14 1185 788 1191
rect 14 1133 289 1185
rect 341 1133 461 1185
rect 513 1133 788 1185
rect 14 1121 788 1133
rect 14 1069 289 1121
rect 341 1069 461 1121
rect 513 1069 788 1121
rect 14 1057 788 1069
rect 14 1005 289 1057
rect 341 1005 461 1057
rect 513 1005 788 1057
rect 14 993 788 1005
rect 14 941 289 993
rect 341 941 461 993
rect 513 941 788 993
rect 14 929 788 941
rect 14 877 289 929
rect 341 877 461 929
rect 513 877 788 929
rect 14 865 788 877
rect 14 813 289 865
rect 341 813 461 865
rect 513 813 788 865
rect 14 801 788 813
rect 14 749 289 801
rect 341 749 461 801
rect 513 749 788 801
rect 14 719 788 749
rect 14 639 788 669
rect 14 587 203 639
rect 255 587 375 639
rect 427 587 547 639
rect 599 587 788 639
rect 14 575 788 587
rect 14 523 203 575
rect 255 523 375 575
rect 427 523 547 575
rect 599 523 788 575
rect 14 511 788 523
rect 14 459 203 511
rect 255 459 375 511
rect 427 459 547 511
rect 599 459 788 511
rect 14 447 788 459
rect 14 395 203 447
rect 255 395 375 447
rect 427 395 547 447
rect 599 395 788 447
rect 14 383 788 395
rect 14 331 203 383
rect 255 331 375 383
rect 427 331 547 383
rect 599 331 788 383
rect 14 319 788 331
rect 14 267 203 319
rect 255 267 375 319
rect 427 267 547 319
rect 599 267 788 319
rect 14 255 788 267
rect 14 203 203 255
rect 255 203 375 255
rect 427 203 547 255
rect 599 203 788 255
rect 14 197 788 203
<< labels >>
flabel metal1 s 301 42 511 92 0 FreeSans 200 0 0 0 GATE
port 2 nsew
flabel metal1 s 301 1286 511 1336 0 FreeSans 200 0 0 0 GATE
port 2 nsew
flabel metal1 s 41 675 100 705 0 FreeSans 200 90 0 0 SUBSTRATE
port 4 nsew
flabel metal1 s 702 683 761 713 0 FreeSans 200 90 0 0 SUBSTRATE
port 4 nsew
flabel comment s 614 691 614 691 0 FreeSans 180 90 0 0 dummy_poly
flabel comment s 183 699 183 699 0 FreeSans 180 90 0 0 dummy_poly
flabel comment s 315 694 315 694 0 FreeSans 300 0 0 0 D
flabel comment s 229 694 229 694 0 FreeSans 300 0 0 0 S
flabel comment s 487 694 487 694 0 FreeSans 300 0 0 0 S
flabel comment s 401 694 401 694 0 FreeSans 300 0 0 0 S
flabel comment s 315 694 315 694 0 FreeSans 300 0 0 0 S
flabel comment s 229 694 229 694 0 FreeSans 300 0 0 0 S
flabel comment s 573 694 573 694 0 FreeSans 300 0 0 0 S
flabel comment s 487 694 487 694 0 FreeSans 300 0 0 0 D
flabel comment s 401 694 401 694 0 FreeSans 300 0 0 0 S
flabel metal2 s 14 384 35 512 7 FreeSans 300 180 0 0 SOURCE
port 3 nsew
flabel metal2 s 14 908 35 1036 7 FreeSans 300 180 0 0 DRAIN
port 1 nsew
<< properties >>
string GDS_END 5804350
string GDS_FILE $PDKPATH/libs.ref/sky130_fd_pr/gds/sky130_fd_pr.gds
string GDS_START 5776804
<< end >>
